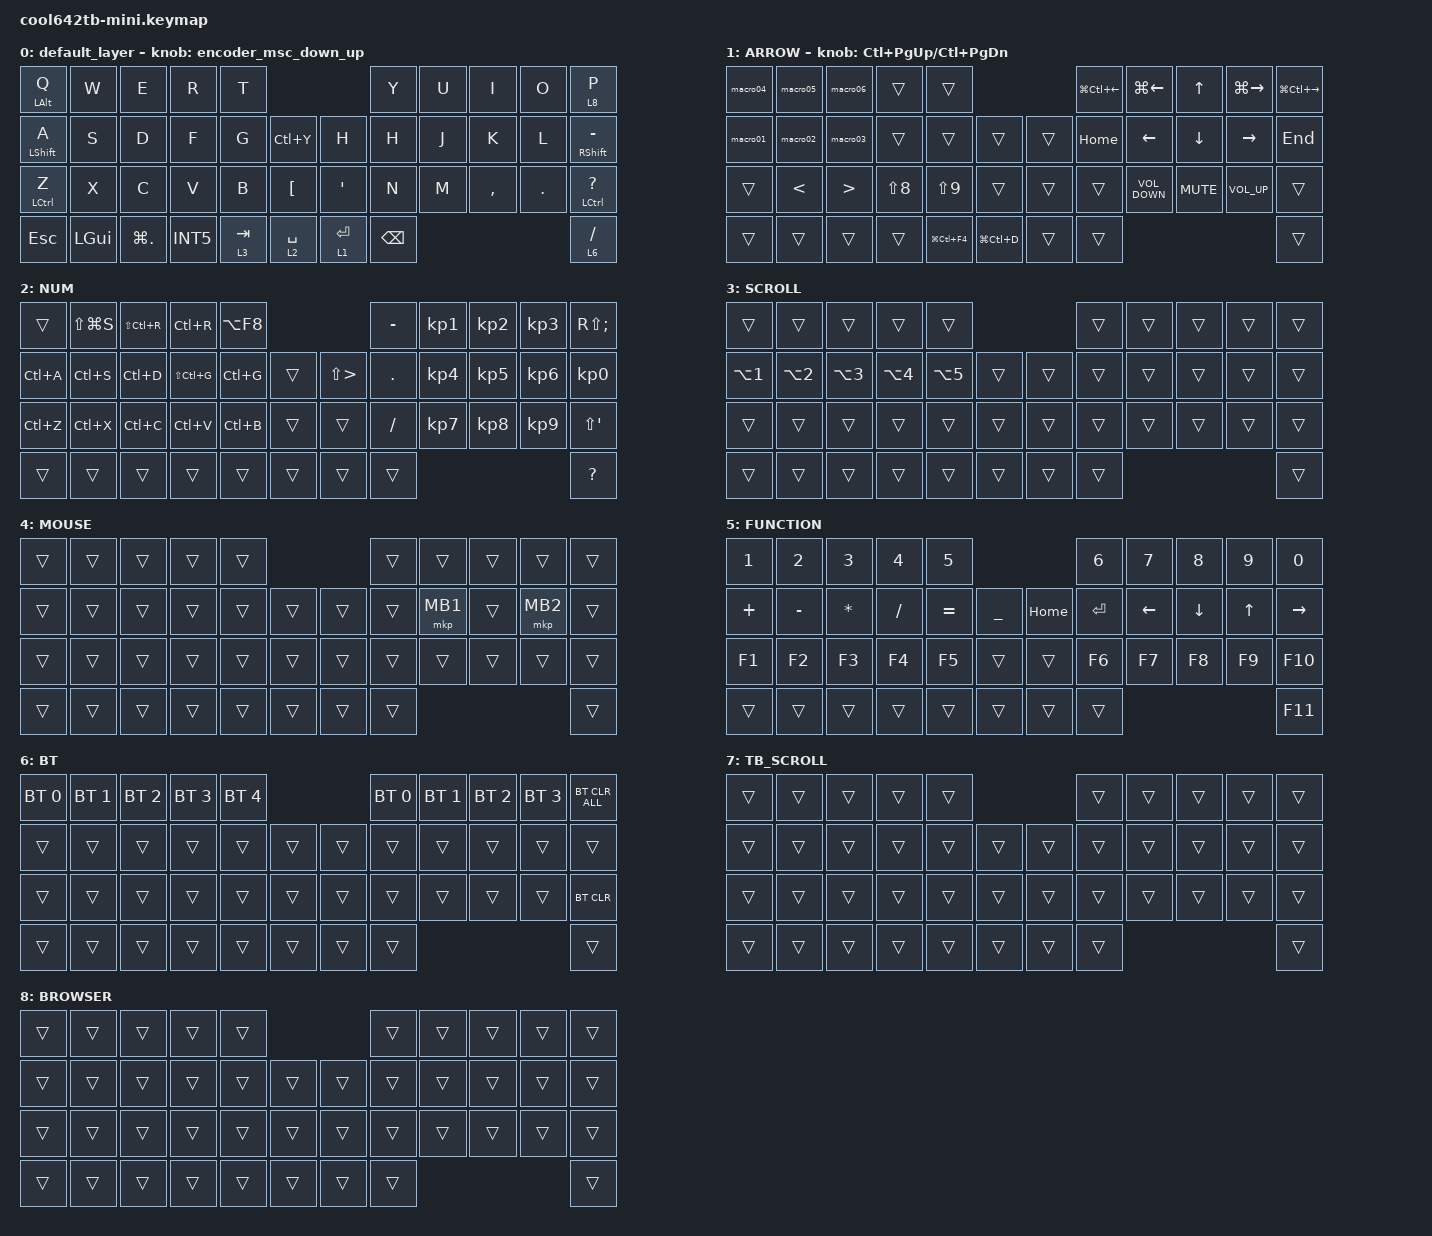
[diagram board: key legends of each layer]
#include <behaviors.dtsi>
#include <dt-bindings/zmk/bt.h>
#include <dt-bindings/zmk/keys.h>
#include <dt-bindings/zmk/pointing.h>

#define MOUSE 4
#define SCROLL 5
#define NUM 6
#define ZMK_POINTING_DEFAULT_SCRL_VAL 80

// home-row mods (&mt LSHIFT A, &mt LALT Q, &mt LCTRL Z 等) が
// 高速日本語入力中に HOLD と誤判定され、Shift / Alt / Ctrl が
// 保持されたまま次の文字が IME に渡ってローマ字入力モードに
// 切り替わる現象を防ぐための設定:
//   - tap-preferred: tapping-term を超えるまで HOLD にしない
//   - quick-tap-ms : 直前タップ後の同キー押下を強制タップ
//   - require-prior-idle-ms: 直前 250ms 以内にキー入力があれば強制タップ

&mt {
    flavor = "tap-preferred";
    tapping-term-ms = <200>;
    quick-tap-ms = <175>;
    require-prior-idle-ms = <250>;
};

// layer-tap (&lt 3 SPACE, &lt 2 TAB, &lt 1 ENTER 等) が
// 高速日本語入力中に HOLD と誤判定され、瞬間的に別レイヤー
// (SCROLL の Alt+数字、NUM の Ctrl+英字 など) が出力されて
// IME がローマ字入力に切り替わる現象を防ぐ。
// 過去にこの値を 200〜250 に上げると症状が消えた実績あり。
//
// 注意: keymap-editor で保存するとこのブロックが削除される
// ことがあるため、保存後は必ず diff を確認すること。

&lt {
    flavor = "tap-preferred";
    tapping-term-ms = <200>;
    quick-tap-ms = <175>;
    require-prior-idle-ms = <250>;
};

/ {
    combos {
        compatible = "zmk,combos";

        // J + K → DELETE
        // 直前にキー入力があった場合は発火させない (誤発火防止)

        lang {
            bindings = <&kp DELETE>;
            key-positions = <19 18>;
            timeout-ms = <40>;
            require-prior-idle-ms = <150>;
        };

        // U + I → LANG1 (英数 / Romaji direct input)
        // 上段アルファベットの位置に移動。日本語ローマ字入力で
        // U+I が同時押しされるケースは稀。さらに require-prior-idle-ms
        // で連続タイピング中の誤発火を抑止。

        hennkan {
            bindings = <&kp LANG1>;
            key-positions = <6 7>;
            timeout-ms = <35>;
            require-prior-idle-ms = <200>;
        };

        // E + R → LANGUAGE_2 (かな)
        // 同様に上段アルファベットへ移動。誤発火防止のためガード

        Lang2 {
            bindings = <&kp LANGUAGE_2>;
            key-positions = <2 3>;
            timeout-ms = <35>;
            require-prior-idle-ms = <200>;
        };

        // L + MINUS → BROWSER レイヤー (mo 7)
        // 右手ホームポジションで触れる位置のため、
        // タイピング中の誤発火防止に require-prior-idle-ms を追加

        scroll_combo {
            timeout-ms = <100>;
            key-positions = <20 21>;
            bindings = <&mo 7>;
            slow-release;
            require-prior-idle-ms = <150>;
        };
    };

    behaviors {
        encoder_msc_down_up: encoder_msc_down_up {
            compatible = "zmk,behavior-sensor-rotate";
            label = "ENCODER_MSC_DOWN_UP";
            #sensor-binding-cells = <0>;
            bindings = <&msc SCRL_UP>, <&msc SCRL_DOWN>;

            tap-ms = <20>;
        };

        // TAB 専用の layer-tap。
        // require-prior-idle-ms = 0 にして連続タイピング直後でも
        // 200ms 以上ホールドすればすぐにレイヤーに入れるようにする。
        // tap-preferred + tapping-term-ms = 200 が壁として効くので
        // 短い「ちょん押し」は確実にタップ (Tab) になり暴発しない。

        lt_tab: lt_tab {
            compatible = "zmk,behavior-hold-tap";
            #binding-cells = <2>;
            flavor = "tap-preferred";
            tapping-term-ms = <200>;
            quick-tap-ms = <175>;
            require-prior-idle-ms = <0>;
            bindings = <&mo>, <&kp>;
        };
    };

    macros {
        macro01: macro01 {
            compatible = "zmk,behavior-macro";
            #binding-cells = <0>;
            bindings = <&kp LS(I) &kp LS(Q) &kp LS(V) &kp LS(I) &kp LS(A)>;
            label = "MACRO01";
        };

        macro02: macro02 {
            compatible = "zmk,behavior-macro";
            #binding-cells = <0>;
            bindings = <&kp LS(C) &kp LS(S) &kp LS(M) &kp LS(S)>;
            label = "MACRO02";
        };

        macro03: macro03 {
            compatible = "zmk,behavior-macro";
            #binding-cells = <0>;
            bindings = <&kp LS(M) &kp E &kp D &kp LS(T) &kp E &kp C &kp H>;
            label = "MACRO03";
        };

        macro04: macro04 {
            compatible = "zmk,behavior-macro";
            #binding-cells = <0>;
            bindings = <&kp LS(A) &kp LS(S) &kp SPACE &kp LS(C) &kp O &kp N &kp N &kp E &kp C &kp T>;
            label = "MACRO04";
        };

        macro05: macro05 {
            compatible = "zmk,behavior-macro";
            #binding-cells = <0>;
            bindings = <&kp LS(S) &kp LS(H) &kp LS(D) &kp SPACE &kp LS(E) &kp C &kp H &kp O &kp SPACE &kp LS(L) &kp A &kp B &kp PERIOD>;
            label = "MACRO05";
        };

        macro06: macro06 {
            compatible = "zmk,behavior-macro";
            #binding-cells = <0>;
            bindings = <&kp KP_NUMBER_1 &kp O &kp N &kp KP_NUMBER_1>;
            label = "MACRO06";
        };
    };

    keymap {
        compatible = "zmk,keymap";

        default_layer {
            bindings = <
&mt LEFT_ALT Q      &kp W         &kp E        &kp R     &kp T                                         &kp Y          &kp U  &kp I      &kp O    &lt 8 P
&mt LEFT_SHIFT A    &kp S         &kp D        &kp F     &kp G      &kp LC(Y)             &kp H        &kp H          &kp J  &kp K      &kp L    &mt RIGHT_SHIFT MINUS
&mt LEFT_CONTROL Z  &kp X         &kp C        &kp V     &kp B      &kp LEFT_BRACKET      &kp SQT      &kp N          &kp M  &kp COMMA  &kp DOT  &mt LCTRL QUESTION
&kp ESCAPE          &kp LEFT_GUI  &kp LG(DOT)  &kp INT5  &lt 3 TAB  &lt_tab 2 SPACE       &lt 1 ENTER  &kp BACKSPACE                             &lt 6 SLASH
            >;

            sensor-bindings = <&encoder_msc_down_up>;
        };

        ARROW {
            bindings = <
&macro04  &macro05       &macro06          &trans      &trans                                     &kp LG(LC(LEFT_ARROW))  &kp LG(LEFT_ARROW)  &kp UP_ARROW    &kp LG(RIGHT)    &kp LG(LC(RIGHT))
&macro01  &macro02       &macro03          &trans      &trans          &trans             &trans  &kp HOME                &kp LEFT_ARROW      &kp DOWN_ARROW  &kp RIGHT        &kp END
&trans    &kp LESS_THAN  &kp GREATER_THAN  &kp LS(N8)  &kp LS(N9)      &trans             &trans  &trans                  &kp C_VOLUME_DOWN   &kp C_MUTE      &kp C_VOLUME_UP  &trans
&trans    &trans         &trans            &trans      &kp LG(LC(F4))  &kp LG(LC(D))      &trans  &trans                                                                       &trans
            >;

            sensor-bindings = <&inc_dec_kp LC(PAGE_UP) LC(PAGE_DOWN)>;
        };

        NUM {
            bindings = <
&trans     &kp LS(LG(S))  &kp LS(LC(R))  &kp LC(R)      &kp LA(F8)                          &kp MINUS   &kp KP_NUMBER_1  &kp KP_NUMBER_2  &kp KP_NUMBER_3  &kp RS(SEMICOLON)
&kp LC(A)  &kp LC(S)      &kp LC(D)      &kp LS(LC(G))  &kp LC(G)   &trans      &kp LS(GT)  &kp PERIOD  &kp KP_NUMBER_4  &kp KP_NUMBER_5  &kp KP_NUMBER_6  &kp KP_NUMBER_0
&kp LC(Z)  &kp LC(X)      &kp LC(C)      &kp LC(V)      &kp LC(B)   &trans      &trans      &kp SLASH   &kp KP_NUMBER_7  &kp KP_NUMBER_8  &kp KP_NUMBER_9  &kp LS(SINGLE_QUOTE)
&trans     &trans         &trans         &trans         &trans      &trans      &trans      &trans                                                         &kp QUESTION
            >;
        };

        SCROLL {
            bindings = <
&trans            &trans            &trans            &trans            &trans                          &trans  &trans  &trans  &trans  &trans
&kp LA(NUMBER_1)  &kp LA(NUMBER_2)  &kp LA(NUMBER_3)  &kp LA(NUMBER_4)  &kp LA(N5)  &trans      &trans  &trans  &trans  &trans  &trans  &trans
&trans            &trans            &trans            &trans            &trans      &trans      &trans  &trans  &trans  &trans  &trans  &trans
&trans            &trans            &trans            &trans            &trans      &trans      &trans  &trans                          &trans
            >;
        };

        MOUSE {
            bindings = <
&trans  &trans  &trans  &trans  &trans                      &trans  &trans    &trans  &trans    &trans
&trans  &trans  &trans  &trans  &trans  &trans      &trans  &trans  &mkp MB1  &trans  &mkp MB2  &trans
&trans  &trans  &trans  &trans  &trans  &trans      &trans  &trans  &trans    &trans  &trans    &trans
&trans  &trans  &trans  &trans  &trans  &trans      &trans  &trans                              &trans
            >;
        };

        FUNCTION {
            bindings = <
&kp N1    &kp N2     &kp N3     &kp N4     &kp N5                              &kp N6     &kp N7    &kp N8    &kp N9        &kp N0
&kp PLUS  &kp MINUS  &kp ASTRK  &kp SLASH  &kp EQUAL  &kp UNDER      &kp HOME  &kp ENTER  &kp LEFT  &kp DOWN  &kp UP_ARROW  &kp RIGHT
&kp F1    &kp F2     &kp F3     &kp F4     &kp F5     &trans         &trans    &kp F6     &kp F7    &kp F8    &kp F9        &kp F10
&trans    &trans     &trans     &trans     &trans     &trans         &trans    &trans                                       &kp F11
            >;
        };

        BT {
            bindings = <
&bt BT_SEL 0  &bt BT_SEL 1  &bt BT_SEL 2  &bt BT_SEL 3  &bt BT_SEL 4                      &bt BT_SEL 0  &bt BT_SEL 1  &bt BT_SEL 2  &bt BT_SEL 3  &bt BT_CLR_ALL
&trans        &trans        &trans        &trans        &trans        &trans      &trans  &trans        &trans        &trans        &trans        &trans
&trans        &trans        &trans        &trans        &trans        &trans      &trans  &trans        &trans        &trans        &trans        &bt BT_CLR
&trans        &trans        &trans        &trans        &trans        &trans      &trans  &trans                                                  &trans
            >;
        };

        TB_SCROLL {
            bindings = <
&trans  &trans  &trans  &trans  &trans                      &trans  &trans  &trans  &trans  &trans
&trans  &trans  &trans  &trans  &trans  &trans      &trans  &trans  &trans  &trans  &trans  &trans
&trans  &trans  &trans  &trans  &trans  &trans      &trans  &trans  &trans  &trans  &trans  &trans
&trans  &trans  &trans  &trans  &trans  &trans      &trans  &trans                          &trans
            >;
        };

        BROWSER {
            bindings = <
&trans  &trans  &trans  &trans  &trans                      &trans  &trans  &trans  &trans  &trans
&trans  &trans  &trans  &trans  &trans  &trans      &trans  &trans  &trans  &trans  &trans  &trans
&trans  &trans  &trans  &trans  &trans  &trans      &trans  &trans  &trans  &trans  &trans  &trans
&trans  &trans  &trans  &trans  &trans  &trans      &trans  &trans                          &trans
            >;
        };
    };
};
